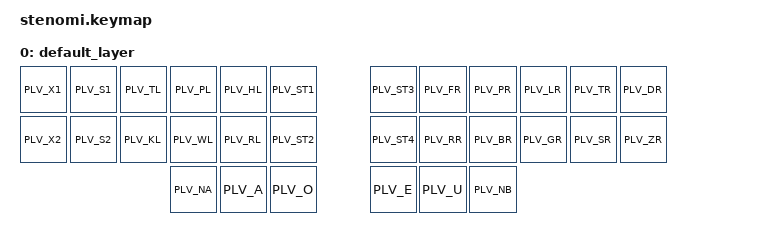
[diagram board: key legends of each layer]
/*
 * Copyright (c) 2020 The ZMK Contributors
 *
 * SPDX-License-Identifier: MIT
 */

#include <behaviors.dtsi>
#include <dt-bindings/zmk/keys.h>
#include <dt-bindings/zmk/bt.h>


/ { 
        keymap {
                compatible = "zmk,keymap";
                
                default_layer {
                bindings = <
                &kp PLV_X1 &kp PLV_S1 &kp PLV_TL &kp PLV_PL &kp PLV_HL &kp PLV_ST1              &kp PLV_ST3 &kp PLV_FR &kp PLV_PR &kp PLV_LR &kp PLV_TR &kp PLV_DR
                &kp PLV_X2 &kp PLV_S2 &kp PLV_KL &kp PLV_WL &kp PLV_RL &kp PLV_ST2              &kp PLV_ST4 &kp PLV_RR &kp PLV_BR &kp PLV_GR &kp PLV_SR &kp PLV_ZR
                                                                         &kp PLV_NA &kp PLV_A   &kp PLV_O               &kp PLV_E  &kp PLV_U  &kp PLV_NB

                >;
                };
        
        };
};
